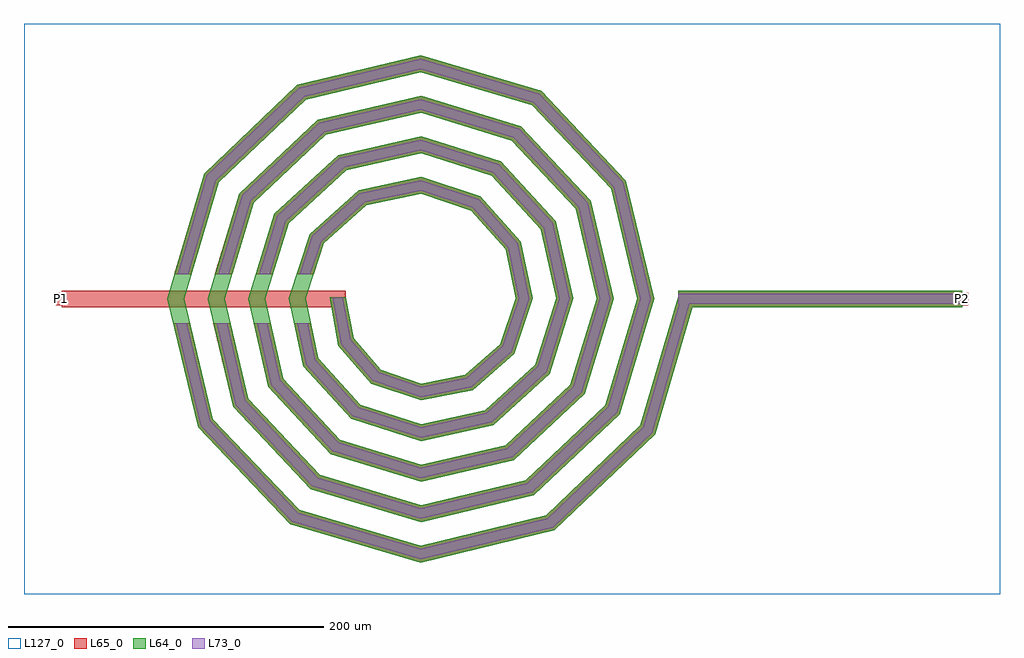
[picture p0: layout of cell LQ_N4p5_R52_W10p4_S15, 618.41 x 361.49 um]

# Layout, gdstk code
import gdstk
lib = gdstk.Library(unit=1e-6, precision=1e-09)
def R(c, l, rs):  # rectangles x0, y0, x1, y1
    for r in rs: c.add(gdstk.rectangle(r[:2], r[2:], *l))
def P(c, l, *ps):  # polygons
    for p in ps: c.add(gdstk.Polygon(p, *l))
L64_0 = (64, 0)
L65_0 = (65, 0)
L73_0 = (73, 0)
L127_0 = (127, 0)

lq_n4p5_r52_w10p4_s15 = lib.new_cell('LQ_N4p5_R52_W10p4_S15')
R(lq_n4p5_r52_w10p4_s15, L64_0, [(163.01,-5.2,343.01,5.2)])
P(lq_n4p5_r52_w10p4_s15, L64_0, [(-42.557,-25.023),(-25.427,-44.795),(0.364,-53.647),(28.198,-48.138),(50.337,-28.67),(60.068,0.328),(53.715,31.38),(31.908,55.882),(0.299,66.49),(-34.567,59.29),(-61.43,35.141),(-72.911,0.274),(-64.863,-37.757),(-38.371,-66.981),(0.254,-79.333),(40.951,-70.435),(72.533,-41.598),(85.756,0.236),(76.005,44.148),(44.824,78.087),(0.22,92.178),(-47.346,81.575),(-83.642,48.047),(-98.601,0.207),(-87.143,-50.546),(-51.269,-89.198),(0.195,-105.023),(53.747,-92.711),(94.755,-54.49),(111.446,0.184),(98.279,56.95),(57.71,100.312),(0.174,117.868),(-60.153,103.845),(-105.869,60.929),(-124.291,0.166),(-109.412,-63.357),(-64.147,-111.428),(0.158,-130.714),(66.562,-114.978),(116.986,-67.365),(137.137,0.151),(120.544,69.767),(70.582,122.545),(0.144,143.559),(-72.973,126.109),(-128.104,73.799),(-149.982,0.138),(-131.674,-76.18),(-77.015,-133.664),(0.133,-156.405),(79.387,-137.239),(139.224,-80.231),(163.221,1.466),(173.199,-1.466),(148.416,-85.838),(84.541,-146.692),(0.133,-167.169),(-82.631,-142.851),(-141.133,-81.325),(-160.746,0.138),(-137.286,79.424),(-78.109,135.573),(0.144,154.323),(76.218,131.72),(130.013,74.892),(147.9,0.151),(126.154,-73.012),(71.674,-124.454),(0.158,-141.477),(-69.807,-120.588),(-118.896,-68.456),(-135.054,0.166),(-115.021,66.602),(-65.237,113.337),(0.174,128.63),(63.398,109.454),(107.779,62.018),(122.207,0.184),(103.887,-60.195),(58.797,-102.222),(0.195,-115.784),(-56.993,-98.318),(-96.665,-55.575),(-109.361,0.207),(-92.749,53.793),(-52.352,91.108),(0.22,102.937),(50.593,87.179),(85.553,49.128),(96.514,0.236),(81.608,-47.395),(45.901,-79.998),(0.254,-90.09),(-44.2,-76.036),(-74.445,-42.672),(-83.666,0.274),(-70.462,41.007),(-39.44,68.893),(0.299,77.242),(37.817,64.885),(63.344,36.204),(70.818,0.328),(59.306,-34.632),(32.963,-57.796),(0.364,-64.393),(-31.453,-53.722),(-52.252,-29.715),(-57.706,0.969),(-47.488,0.969)])
R(lq_n4p5_r52_w10p4_s15, L65_0, [(-227.397,-5.2,-47.397,5.2), (163.01,-5.2,343.01,5.2), (-231.397,-4,-223.397,4), (339.01,-4,347.01,4)])
P(lq_n4p5_r52_w10p4_s15, L65_0, [(-131.674,-76.18),(-77.015,-133.664),(0.133,-156.405),(79.387,-137.239),(139.224,-80.231),(163.221,1.466),(173.199,-1.466),(148.416,-85.838),(84.541,-146.692),(0.133,-167.169),(-82.631,-142.851),(-141.133,-81.325),(-156.957,-15.6),(-146.26,-15.6)],
  [(-109.412,-63.357),(-64.147,-111.428),(0.158,-130.714),(66.562,-114.978),(116.986,-67.365),(137.137,0.151),(120.544,69.768),(70.582,122.545),(0.144,143.559),(-72.973,126.109),(-128.104,73.799),(-145.325,15.6),(-156.171,15.6),(-137.286,79.424),(-78.109,135.573),(0.144,154.323),(76.218,131.72),(130.014,74.892),(147.9,0.151),(126.154,-73.012),(71.674,-124.454),(0.158,-141.477),(-69.807,-120.588),(-118.896,-68.456),(-131.341,-15.6),(-120.657,-15.6)],
  [(-87.143,-50.546),(-51.269,-89.198),(0.195,-105.023),(53.747,-92.711),(94.755,-54.49),(111.446,0.184),(98.279,56.95),(57.71,100.312),(0.174,117.868),(-60.153,103.845),(-105.87,60.929),(-119.537,15.6),(-130.4,15.6),(-115.021,66.602),(-65.237,113.337),(0.174,128.63),(63.398,109.454),(107.779,62.018),(122.207,0.184),(103.887,-60.195),(58.797,-102.222),(0.195,-115.784),(-56.993,-98.318),(-96.665,-55.576),(-105.763,-15.6),(-95.097,-15.6)],
  [(-64.864,-37.757),(-38.371,-66.981),(0.254,-79.334),(40.951,-70.435),(72.534,-41.598),(85.756,0.236),(76.005,44.148),(44.824,78.087),(0.22,92.178),(-47.346,81.575),(-83.642,48.047),(-93.701,15.6),(-104.589,15.6),(-92.749,53.793),(-52.353,91.108),(0.22,102.937),(50.593,87.179),(85.553,49.128),(96.514,0.236),(81.608,-47.395),(45.901,-79.998),(0.254,-90.09),(-44.2,-76.036),(-74.445,-42.672),(-80.258,-15.6),(-69.621,-15.6)],
  [(-25.427,-44.795),(0.364,-53.647),(28.198,-48.138),(50.337,-28.67),(60.068,0.328),(53.715,31.38),(31.908,55.882),(0.299,66.49),(-34.567,59.29),(-61.43,35.141),(-67.765,15.6),(-78.698,15.6),(-70.462,41.007),(-39.44,68.894),(0.299,77.242),(37.817,64.885),(63.344,36.205),(70.818,0.328),(59.306,-34.632),(32.963,-57.796),(0.364,-64.393),(-31.453,-53.722),(-52.252,-29.715),(-57.706,0.969),(-47.488,0.969),(-42.557,-25.023)])
R(lq_n4p5_r52_w10p4_s15, L73_0, [(163.01,-3.2,343.01,3.2)])
P(lq_n4p5_r52_w10p4_s15, L73_0, [(-133.493,-77.169),(-78.095,-135.431),(0.082,-158.475),(80.378,-139.057),(140.991,-81.309),(165.14,0.902),(171.28,0.902),(146.648,-84.76),(83.55,-144.874),(0.082,-165.099),(-81.551,-141.084),(-139.314,-80.336),(-154.9,-15.6),(-148.317,-15.6)],
  [(-111.236,-64.338),(-65.236,-113.189),(0.097,-132.784),(67.545,-116.8),(118.749,-68.451),(139.206,0.093),(122.365,70.753),(71.666,124.31),(0.089,145.629),(-73.961,127.929),(-129.87,74.881),(-147.411,15.6),(-154.085,15.6),(-135.52,78.342),(-77.121,133.753),(0.089,152.253),(75.134,129.956),(128.192,73.906),(145.83,0.093),(124.391,-71.926),(70.691,-122.632),(0.097,-139.407),(-68.719,-118.826),(-117.072,-67.476),(-129.287,-15.6),(-122.712,-15.6)],
  [(-88.974,-51.513),(-52.37,-90.952),(0.12,-107.093),(54.719,-94.54),(96.511,-55.587),(113.515,0.113),(100.106,57.924),(58.804,102.07),(0.107,119.938),(-61.131,105.671),(-107.629,62.02),(-121.626,15.6),(-128.311,15.6),(-113.261,65.511),(-64.26,111.512),(0.107,126.561),(62.305,107.696),(105.952,61.043),(120.138,0.113),(102.13,-59.098),(57.826,-100.393),(0.12,-113.715),(-55.893,-96.564),(-94.834,-54.608),(-103.712,-15.6),(-97.148,-15.6)],
  [(-66.706,-38.703),(-39.492,-68.722),(0.156,-81.402),(41.903,-72.274),(74.279,-42.713),(87.825,0.145),(77.842,45.106),(45.933,79.836),(0.136,94.247),(-48.309,83.408),(-85.394,49.152),(-95.795,15.6),(-102.495,15.6),(-90.998,52.688),(-51.39,89.275),(0.136,100.868),(49.484,85.431),(83.717,48.17),(94.445,0.145),(79.863,-46.281),(44.95,-78.159),(0.156,-88.022),(-43.079,-74.295),(-72.603,-41.727),(-78.212,-15.6),(-71.667,-15.6)],
  [(-26.586,-46.512),(0.224,-55.714),(29.114,-49.995),(52.061,-29.817),(62.136,0.202),(55.567,32.307),(33.044,57.613),(0.184,68.558),(-35.504,61.137),(-63.167,36.269),(-69.868,15.6),(-76.596,15.6),(-68.725,39.879),(-38.503,67.047),(0.184,75.175),(36.681,63.154),(61.492,35.277),(68.751,0.202),(57.581,-33.486),(32.047,-55.939),(0.224,-62.327),(-30.294,-52.006),(-50.388,-28.813),(-55.741,0.597),(-49.453,0.597),(-44.422,-25.925)])
R(lq_n4p5_r52_w10p4_s15, L127_0, [(-251.397,-187.169,367.01,174.323)])
lq_n4p5_r52_w10p4_s15.add(gdstk.Label('P2', (343.01,0), layer=65, texttype=0))
lq_n4p5_r52_w10p4_s15.add(gdstk.Label('P1', (-227.397,0), layer=65, texttype=0))
lq_n4p5_r52_w10p4_s15.add(gdstk.Label('P2', (347.01,0), layer=145, texttype=0))
lq_n4p5_r52_w10p4_s15.add(gdstk.Label('P1', (-231.397,0), layer=145, texttype=0))

lib.write_gds('LQ_N4p5_R52_W10p4_S15.gds')
